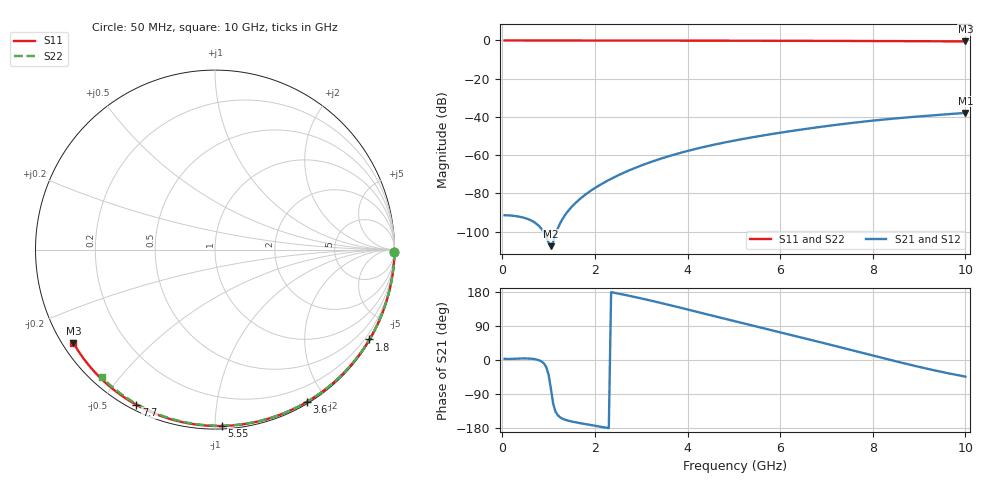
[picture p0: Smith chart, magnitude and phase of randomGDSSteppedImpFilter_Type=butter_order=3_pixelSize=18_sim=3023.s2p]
! freq	dB(S11)	phase(S11)	dB(S12)	phase(S12)
!  dB(S21)	phase(S21)	dB(S22)	phase(S22)
!S-par simulation data
#  GHz  S  DB  R 50
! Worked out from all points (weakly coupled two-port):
!   200 points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, 50 MHz to 10 GHz, reference 50 ohm
!   highest |S21| = -37.87 dB at 10 GHz (marker M1); lowest = -107.6 dB at 1.05 GHz (marker M2)
!   lowest |S11| = -0.5 dB at 10 GHz (marker M3), VSWR 35.19, Z = 1.55 - j15 ohm
!   |S11| at or under -10 dB: nowhere
!   |S22| runs from -0.4 to 0.0 dB; largest |S21 - S12| = 0
!   S11 on the Smith chart (normalised r, x): 50 MHz: open; 1.8 GHz: 0.03, -3.71; 3.6 GHz: 0.02, -1.77; 5.55 GHz: 0.02, -1.04; 7.7 GHz: 0.02, -0.61; 10 GHz: 0.03, -0.30
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0.05  -0.00 -0.9  -91.42 3.4  -91.42 3.4  -0.00 -0.8
0.55  -0.01 -9.4  -93.39 4.0  -93.39 4.0  -0.01 -8.3
1.05  -0.02 -17.8  -107.60 -76.1  -107.60 -76.1  -0.02 -15.8
1.75  -0.04 -29.4  -81.45 -168.1  -81.45 -168.1  -0.03 -26.2
1.8  -0.04 -30.2  -80.52 -169.1  -80.52 -169.1  -0.03 -27.0
1.85  -0.04 -31.0  -79.64 -170.2  -79.64 -170.2  -0.04 -27.7
2.05  -0.04 -34.3  -76.42 -174.4  -76.42 -174.4  -0.04 -30.6
2.25  -0.05 -37.5  -73.64 -178.7  -73.64 -178.7  -0.04 -33.5
2.55  -0.05 -42.4  -69.99 174.2  -69.99 174.2  -0.05 -37.9
2.95  -0.06 -48.7  -65.88 163.9  -65.88 163.9  -0.06 -43.6
3.4  -0.07 -55.8  -62.01 151.2  -62.01 151.2  -0.07 -49.9
3.6  -0.08 -58.9  -60.50 145.4  -60.50 145.4  -0.07 -52.7
3.9  -0.09 -63.5  -58.43 136.4  -58.43 136.4  -0.08 -56.8
4.3  -0.10 -69.5  -56.00 124.2  -56.00 124.2  -0.09 -62.3
5.05  -0.12 -80.5  -52.18 101.5  -52.18 101.5  -0.11 -72.3
5.55  -0.14 -87.7  -50.02 86.5  -50.02 86.5  -0.13 -78.7
6.1  -0.17 -95.3  -47.88 70.1  -47.88 70.1  -0.15 -85.7
6.7  -0.20 -103.5  -45.77 52.0  -45.77 52.0  -0.18 -93.1
7.7  -0.27 -116.8  -42.72 21.2  -42.72 21.2  -0.24 -105.1
8.35  -0.32 -125.3  -41.09 1.1  -41.09 1.1  -0.28 -112.7
9.2  -0.40 -136.3  -39.35 -23.8  -39.35 -23.8  -0.36 -122.5
10  -0.49 -146.6  -37.87 -43.8  -37.87 -43.8  -0.44 -131.6
